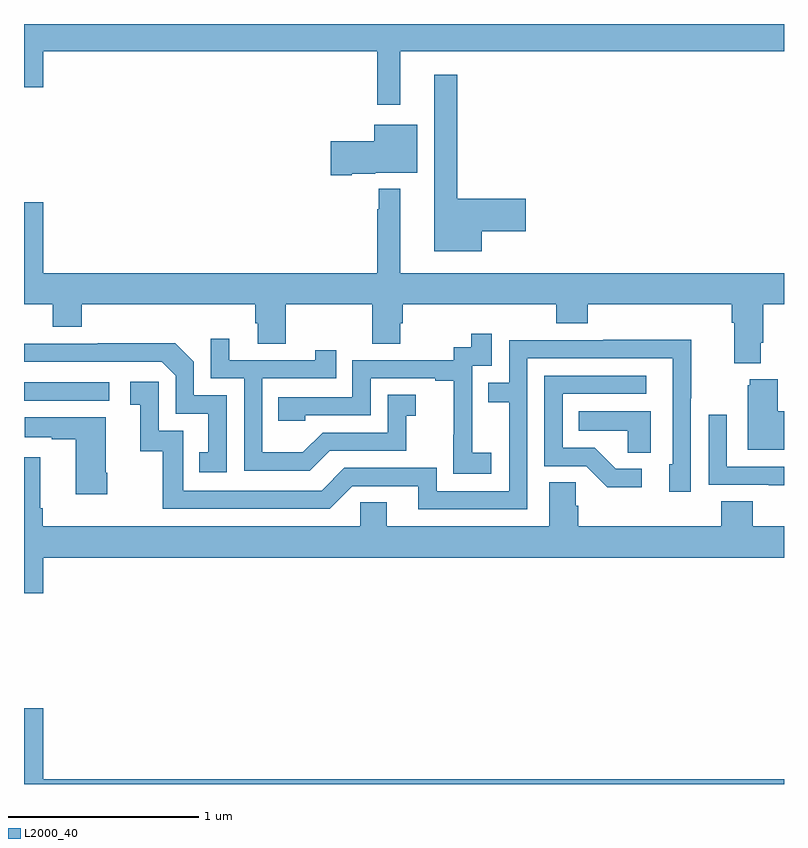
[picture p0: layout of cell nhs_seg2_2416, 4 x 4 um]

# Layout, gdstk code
import gdstk
lib = gdstk.Library(unit=1e-6, precision=1e-09)
def R(c, l, rs):  # rectangles x0, y0, x1, y1
    for r in rs: c.add(gdstk.rectangle(r[:2], r[2:], *l))
def P(c, l, *ps):  # polygons
    for p in ps: c.add(gdstk.Polygon(p, *l))
L2000_40 = (2000, 40)

nhs_seg2_2416 = lib.new_cell('nhs_seg2_2416')
R(nhs_seg2_2416, L2000_40, [(237,625.818,237.448,625.914)])
P(nhs_seg2_2416, L2000_40, [(238.981,627.656),(241,627.656),(241,627.8),(237,627.8),(237,627.468),(237.1,627.468),(237.1,627.656),(238.86,627.656),(238.86,627.375),(238.981,627.375)],
  [(239.41,626.708),(239.641,626.708),(239.641,626.879),(239.281,626.879),(239.281,627.532),(239.159,627.532),(239.159,626.603),(239.41,626.603)],
  [(238.726,627.011),(238.848,627.011),(238.848,627.017),(239.071,627.017),(239.071,627.271),(238.844,627.271),(238.844,627.183),(238.614,627.183),(238.614,627.005),(238.726,627.005)],
  [(240.877,626.122),(240.89,626.122),(240.89,626.324),(241,626.324),(241,626.488),(238.981,626.488),(238.981,626.932),(238.867,626.932),(238.867,626.825),(238.86,626.825),(238.86,626.488),(237.1,626.488),(237.1,626.863),(237,626.863),(237,626.324),(237.152,626.324),(237.152,626.207),(237.305,626.207),(237.305,626.324),(238.217,626.324),(238.217,626.226),(238.229,626.226),(238.229,626.116),(238.377,626.116),(238.377,626.324),(238.834,626.324),(238.834,626.116),(238.981,626.116),(238.981,626.226),(238.994,626.226),(238.994,626.324),(239.801,626.324),(239.801,626.225),(239.966,626.225),(239.966,626.324),(240.725,626.324),(240.725,626.228),(240.737,626.228),(240.737,626.015),(240.877,626.015)],
  [(239.458,625.543),(239.36,625.543),(239.36,625.772),(239.358,625.772),(239.358,626.001),(239.463,626.001),(239.463,626.17),(239.355,626.17),(239.355,626.1),(239.262,626.1),(239.262,626.031),(238.728,626.031),(238.728,625.836),(238.339,625.836),(238.339,625.713),(238.479,625.713),(238.479,625.74),(238.824,625.74),(238.824,625.935),(239.165,625.935),(239.165,625.923),(239.261,625.923),(239.261,625.639),(239.26,625.639),(239.26,625.433),(239.458,625.433)],
  [(238.609,625.554),(239.013,625.554),(239.013,625.739),(239.062,625.739),(239.062,625.849),(238.914,625.849),(238.914,625.65),(238.572,625.65),(238.468,625.546),(238.254,625.546),(238.254,625.935),(238.643,625.935),(238.643,626.083),(238.532,626.083),(238.532,626.031),(238.081,626.031),(238.081,626.143),(237.984,626.143),(237.984,625.935),(238.158,625.935),(238.158,625.449),(238.504,625.449)],
  [(239.649,626.04),(240.414,626.04),(240.414,625.482),(240.395,625.482),(240.395,625.338),(240.51,625.338),(240.51,625.831),(240.513,625.831),(240.513,626.138),(240.049,626.138),(240.049,626.136),(239.553,626.136),(239.553,625.911),(239.443,625.911),(239.443,625.81),(239.553,625.81),(239.553,625.341),(239.172,625.341),(239.172,625.464),(238.686,625.464),(238.566,625.344),(237.837,625.344),(237.837,625.659),(237.708,625.659),(237.708,625.918),(237.558,625.918),(237.558,625.797),(237.611,625.797),(237.611,625.551),(237.729,625.551),(237.729,625.248),(238.608,625.248),(238.728,625.368),(239.075,625.368),(239.075,625.245),(239.649,625.245)],
  [(238.068,625.845),(237.894,625.845),(237.894,626.022),(237.796,626.12),(237.388,626.12),(237.388,626.118),(237,626.118),(237,626.022),(237.726,626.022),(237.798,625.95),(237.798,625.749),(237.971,625.749),(237.971,625.545),(237.922,625.545),(237.922,625.44),(238.068,625.44)],
  [(240.25,625.458),(240.115,625.458),(240.004,625.569),(239.835,625.569),(239.835,625.854),(240.274,625.854),(240.274,625.95),(239.739,625.95),(239.739,625.473),(239.958,625.473),(240.071,625.361),(240.25,625.361)],
  [(241,625.762),(240.967,625.762),(240.967,625.93),(240.821,625.93),(240.821,625.899),(240.809,625.899),(240.809,625.559),(241,625.559)],
  [(240.298,625.762),(239.92,625.762),(239.92,625.658),(240.177,625.658),(240.177,625.543),(240.298,625.543)],
  [(241,625.47),(240.699,625.47),(240.699,625.744),(240.603,625.744),(240.603,625.374),(240.919,625.374),(240.919,625.373),(241,625.373)],
  [(237.438,625.438),(237.43,625.438),(237.43,625.729),(237.003,625.729),(237.003,625.625),(237.146,625.625),(237.146,625.615),(237.272,625.615),(237.272,625.326),(237.438,625.326)],
  [(237.1,624.992),(241,624.992),(241,625.156),(240.836,625.156),(240.836,625.289),(240.671,625.289),(240.671,625.156),(239.918,625.156),(239.918,625.265),(239.904,625.265),(239.904,625.388),(239.765,625.388),(239.765,625.156),(238.909,625.156),(238.909,625.283),(238.77,625.283),(238.77,625.156),(237.098,625.156),(237.098,625.252),(237.085,625.252),(237.085,625.519),(237,625.519),(237,624.804),(237.1,624.804)],
  [(241,623.824),(237.1,623.824),(237.1,624.199),(237,624.199),(237,623.8),(241,623.8)])

lib.write_gds('nhs_seg2_2416.gds')
